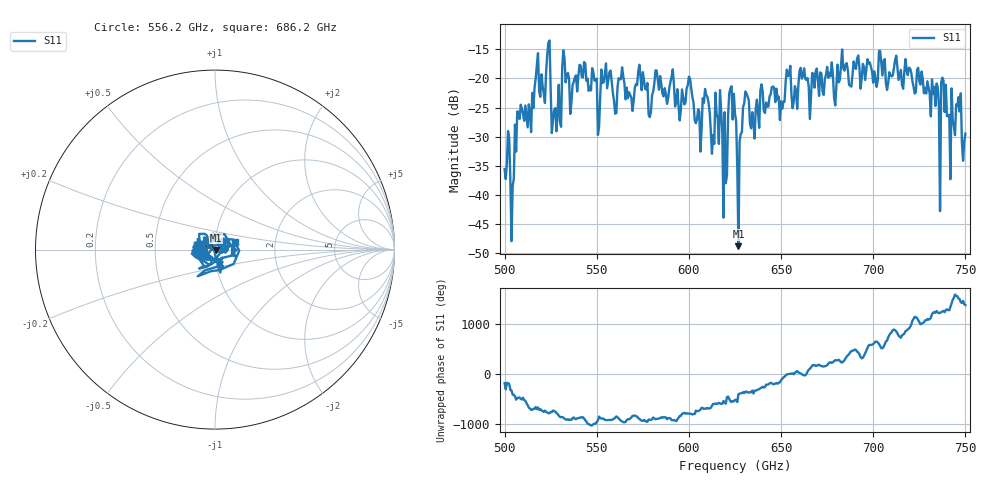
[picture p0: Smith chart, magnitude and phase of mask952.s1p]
!Created with skrf (http://scikit-rf.org).
# GHz S MA R 50.0
!freq magS11 angS11
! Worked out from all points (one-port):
!   401 points, 500 GHz to 750 GHz, reference 50 ohm
!   lowest |S11| = -48.8 dB at 626.9 GHz (marker M1), VSWR 1.01, Z = 50.3 - j0.209 ohm
!   |S11| at or under -10 dB: start of sweep to end of sweep
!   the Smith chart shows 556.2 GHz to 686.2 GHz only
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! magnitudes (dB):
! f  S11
! 500 GHz  -35.6
! 504.4 GHz  -38.4
! 508.1 GHz  -26.9
! 513.1 GHz  -24.5
! 517.5 GHz  -17.6
! 523.8 GHz  -13.9
! 526.9 GHz  -25.4
! 531.2 GHz  -18.1
! 562.5 GHz  -20.1
! 593.8 GHz  -21.9
! 605.6 GHz  -25.7
! 609.4 GHz  -22.8
! 612.5 GHz  -32.9
! 615.6 GHz  -26.8
! 619.4 GHz  -25.8
! 622.5 GHz  -21.7
! 625 GHz  -26.1
! 626.9 GHz  -48.8
! 630.6 GHz  -22.2
! 634.4 GHz  -25.8
! 656.2 GHz  -25.1
! 687.5 GHz  -21.3
! 718.8 GHz  -19.4
! 735 GHz  -21.5
! 738.1 GHz  -20.4
! 743.1 GHz  -27.1
! 746.2 GHz  -23.2
! 750 GHz  -29.5
